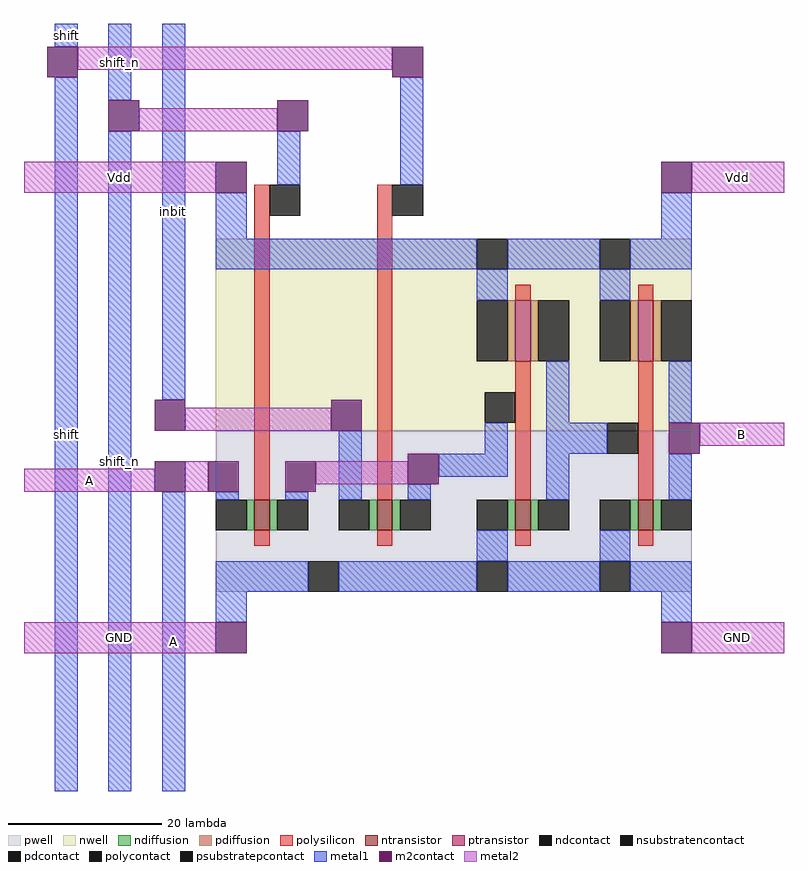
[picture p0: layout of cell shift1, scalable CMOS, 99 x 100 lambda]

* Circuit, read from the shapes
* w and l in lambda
.subckt shift1 A B GND Vdd inbit shift shift_n
M1 n1 shift_n A GND nfet w=4 l=2
M2 n1 shift inbit GND nfet w=4 l=2
M3 n2 n1 GND GND nfet w=4 l=2
M4 B n2 GND GND nfet w=4 l=2
M5 n2 n1 Vdd Vdd pfet w=8 l=2
M6 B n2 Vdd Vdd pfet w=8 l=2
.ends

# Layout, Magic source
magic
tech scmos
<< pwell >>
rect -1 3 61 24
<< nwell >>
rect -1 24 61 49
<< polysilicon >>
rect 4 15 6 56
rect 20 15 22 56
rect 38 41 40 43
rect 54 41 56 43
rect 38 15 40 33
rect 54 15 56 33
rect 4 9 6 11
rect 20 9 22 11
rect 38 9 40 11
rect 54 9 56 11
<< ndiffusion >>
rect 3 11 4 15
rect 6 11 7 15
rect 19 11 20 15
rect 22 11 23 15
rect 37 11 38 15
rect 40 11 41 15
rect 53 11 54 15
rect 56 11 57 15
<< pdiffusion >>
rect 37 33 38 41
rect 40 33 41 41
rect 53 33 54 41
rect 56 33 57 41
<< metal1 >>
rect -22 74 -19 77
rect -22 -23 -19 70
rect -15 67 -12 77
rect -15 -23 -12 63
rect -8 28 -5 77
rect 7 56 10 63
rect 23 56 26 70
rect -1 49 3 55
rect 57 49 61 55
rect -1 45 33 49
rect 37 45 49 49
rect 53 45 61 49
rect 33 41 37 45
rect 49 41 53 45
rect -8 -23 -5 16
rect -1 15 2 16
rect 8 15 11 16
rect 15 15 18 24
rect 42 25 45 33
rect 58 25 61 33
rect 34 21 37 25
rect 28 18 37 21
rect 42 21 50 25
rect 24 15 27 17
rect 42 15 45 21
rect 58 15 61 21
rect 33 7 37 11
rect 49 7 53 11
rect -1 3 11 7
rect 15 3 33 7
rect 37 3 49 7
rect 53 3 61 7
rect -1 -1 3 3
rect 57 -1 61 3
<< metal2 >>
rect -19 71 22 74
rect -11 63 7 66
rect -26 55 -1 59
rect 61 55 73 59
rect -5 24 14 27
rect 62 22 73 25
rect -26 16 -9 19
rect -5 16 -2 20
rect 12 17 24 20
rect -26 -5 -1 -1
rect 61 -5 73 -1
<< ntransistor >>
rect 4 11 6 15
rect 20 11 22 15
rect 38 11 40 15
rect 54 11 56 15
<< ptransistor >>
rect 38 33 40 41
rect 54 33 56 41
<< polycontact >>
rect 6 52 10 56
rect 22 52 26 56
rect 34 25 38 29
rect 50 21 54 25
<< ndcontact >>
rect -1 11 3 15
rect 7 11 11 15
rect 15 11 19 15
rect 23 11 27 15
rect 33 11 37 15
rect 41 11 45 15
rect 49 11 53 15
rect 57 11 61 15
<< pdcontact >>
rect 33 33 37 41
rect 41 33 45 41
rect 49 33 53 41
rect 57 33 61 41
<< m2contact >>
rect -23 70 -19 74
rect -15 63 -11 67
rect 22 70 26 74
rect 7 63 11 67
rect -1 55 3 59
rect 57 55 61 59
rect -9 24 -5 28
rect 14 24 18 28
rect -9 16 -5 20
rect -2 16 2 20
rect 8 16 12 20
rect 24 17 28 21
rect 58 21 62 25
rect -1 -5 3 -1
rect 57 -5 61 -1
<< psubstratepcontact >>
rect 11 3 15 7
rect 33 3 37 7
rect 49 3 53 7
<< nsubstratencontact >>
rect 33 45 37 49
rect 49 45 53 49
<< labels >>
rlabel metal1 -22 74 -19 77 1 shift
rlabel metal1 -15 67 -12 77 1 shift_n
rlabel metal1 -8 28 -5 77 1 inbit
rlabel metal2 -26 55 -1 59 7 Vdd
rlabel metal2 -26 16 -9 19 7 A
rlabel metal2 -26 -5 -1 -1 7 GND
rlabel metal1 -22 -23 -19 70 5 shift
rlabel metal1 -15 -23 -12 63 5 shift_n
rlabel metal1 -8 -23 -5 16 5 A
rlabel metal2 61 55 73 59 3 Vdd
rlabel metal2 62 22 73 25 3 B
rlabel metal2 61 -5 73 -1 3 GND
<< end >>
